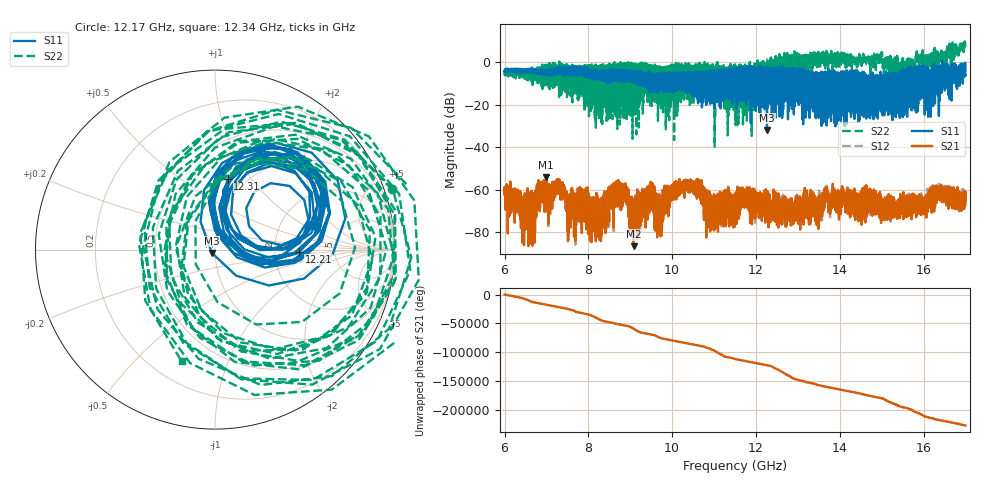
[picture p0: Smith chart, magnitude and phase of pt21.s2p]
#  HZ  S  RI  R  50.00
! Rohde & Schwarz Vector Network Analyzer
! Rohde-Schwarz,ZNA67-2Port,1332450062101215,3.01
! Created: UTC 10/26/2026, 5:55:34 PM
! freq[Hz]  re:S11  im:S11  re:S21  im:S21  re:S12  im:S12  re:S22  im:S22
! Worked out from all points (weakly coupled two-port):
!   11001 points, 6 GHz to 17 GHz, reference 50 ohm
!   highest |S21| = -54.19 dB at 6.992 GHz (marker M1); lowest = -86.5 dB at 9.08 GHz (marker M2)
!   lowest |S11| = -31.9 dB at 12.26 GHz (marker M3), VSWR 1.05, Z = 48.3 - j1.82 ohm
!   |S11| at or under -10 dB: 13.53171 GHz to 13.53723 GHz (5.514 MHz wide, 0.0407 % of centre); 14.9079 GHz to 14.91406 GHz (6.163 MHz wide, 0.0413 % of centre); 14.91882 GHz to 14.92558 GHz (6.763 MHz wide, 0.0453 % of centre) (the widest 3 of 635)
!   |S22| runs from -39.7 to 10.2 dB; largest |S21 - S12| = 0.0011
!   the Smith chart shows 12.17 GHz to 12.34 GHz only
!   S11 on the Smith chart (normalised r, x): 12.17 GHz: 3.11, +1.26; 12.21 GHz: 2.77, -0.09; 12.31 GHz: 0.83, +0.77; 12.34 GHz: 1.04, +0.37
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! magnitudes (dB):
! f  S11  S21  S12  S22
! 6 GHz  -4.3  -61.8  -61.8  -4.4
! 6.613 GHz  -3.9  -67.0  -67.1  -7.0
! 6.992 GHz  -5.7  -54.2  -54.0  -1.9
! 7.304 GHz  -4.6  -61.9  -62.2  -4.4
! 7.548 GHz  -4.2  -70.3  -69.3  -9.8
! 7.834 GHz  -3.5  -66.0  -66.6  -2.5
! 8.295 GHz  -6.7  -71.7  -70.6  -20.6
! 8.705 GHz  -8.1  -59.7  -60.1  -10.9
! 9.08 GHz  -7.5  -86.5  -81.5  -4.1
! 9.481 GHz  -5.8  -69.4  -69.7  -2.0
! 9.667 GHz  -6.4  -68.4  -68.1  -3.0
! 10.35 GHz  -6.1  -55.9  -56.2  -3.1
! 10.98 GHz  -4.6  -69.9  -67.7  -2.0
! 11.5 GHz  -3.2  -62.4  -62.5  -3.1
! 12.17 GHz  -4.9  -66.6  -65.9  0.3
! 12.21 GHz  -6.5  -62.3  -63.4  -2.2
! 12.26 GHz  -31.9  -68.4  -68.8  -2.6
! 12.31 GHz  -8.0  -77.6  -75.5  -11.0
! 12.34 GHz  -14.8  -73.6  -70.8  -3.7
! 13.33 GHz  -8.0  -70.6  -67.9  -4.1
! 15.17 GHz  -21.7  -67.5  -65.3  -2.3
! 17 GHz  -6.1  -64.8  -66.4  8.2
